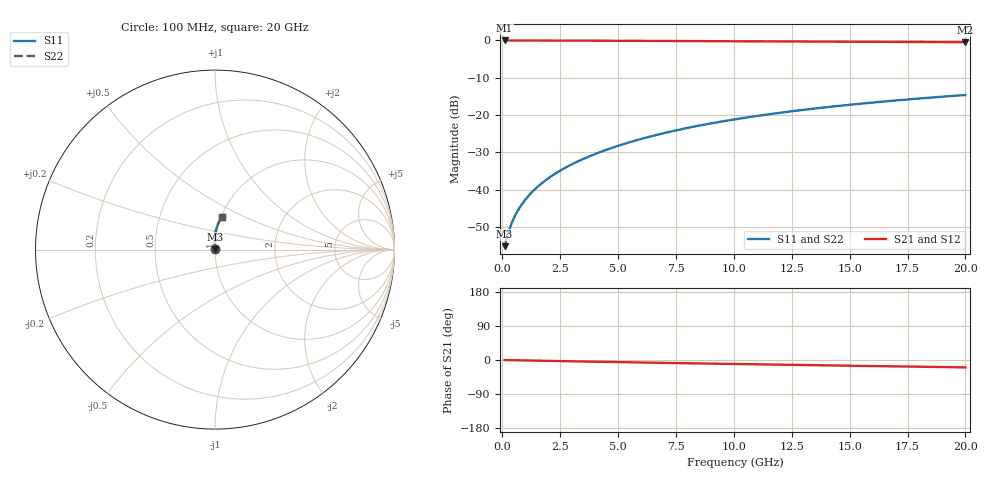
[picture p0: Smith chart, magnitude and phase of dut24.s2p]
! Touchstone file exported from HFSS 2024.1.0
!  File:  C:/UserFiles/LocalFiles/RDL_TSV_Batchsim/temp_RDL_top_24_1778680355.aedt
!  Generated:  09:54:37 PM May 13, 2026
!  Design:  RDL_top
!  Project:  temp_RDL_top_24_1778680355
!  Setup:  Setup1
!  Solution:  Sweep
! Variables:
!  dtsv = 10.80580581um
!  hbump = 3um
!  htsv = 53.6um
!  ldown = 100um
!  lrdl = 266.81um
!  p = 40
!  p1 = 48.59um
!  rhole = 1um
!  t = 450um
!  tdown = 3.915915916um
!  trdl = 2.84um
!  wdown = 15.38538539um
!  wrdl = 27.21um
# GHz S MA R 50.000000
! Terminal data exported
! Port[1] = Box2_T1
! Port[2] = Box2_T2
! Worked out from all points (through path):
!   200 points, 100 MHz to 20 GHz, reference 50 ohm
!   highest |S21| = -0.01 dB at 100 MHz (marker M1); lowest = -0.5 dB at 20 GHz (marker M2)
!   group delay of S21, straight-line fit = 2.67 ps
!   lowest |S11| = -55.2 dB at 100 MHz (marker M3), VSWR 1.00, Z = 50.2 + j0.0819 ohm
!   |S11| at or under -10 dB: start of sweep to end of sweep
!   |S22| runs from -55.2 to -14.6 dB; largest |S21 - S12| = 4e-15
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0.1  0.001738 28.0  0.9985 -0.1  0.9985 -0.1  0.001738 28.0
! Gamma 0 0 0 0
! Port Impedance 50 0 50 0
0.3  0.002877 54.3  0.9983 -0.4  0.9983 -0.4  0.002877 54.3
0.4  0.003505 60.2  0.9981 -0.5  0.9981 -0.5  0.003505 60.2
0.5  0.004133 64.4  0.998 -0.6  0.998 -0.6  0.004133 64.4
0.6  0.004762 67.7  0.9979 -0.7  0.9979 -0.7  0.004762 67.7
0.8  0.006035 72.6  0.9977 -0.9  0.9977 -0.9  0.006035 72.6
1  0.007335 76.1  0.9975 -1.2  0.9975 -1.2  0.007335 76.1
1.2  0.008663 78.8  0.9973 -1.4  0.9973 -1.4  0.008663 78.8
1.7  0.0121 83.4  0.9966 -2.0  0.9966 -2.0  0.0121 83.4
2.2  0.01569 86.4  0.9958 -2.6  0.9958 -2.6  0.01569 86.4
2.8  0.0202 88.7  0.9945 -3.2  0.9945 -3.2  0.0202 88.7
3.5  0.02574 90.6  0.9928 -4.0  0.9928 -4.0  0.02574 90.5
4.2  0.03157 91.7  0.9909 -4.8  0.9909 -4.8  0.03157 91.7
5  0.03856 92.3  0.9885 -5.6  0.9885 -5.6  0.03856 92.3
5.9  0.04679 92.5  0.9857 -6.5  0.9857 -6.5  0.04678 92.5
6.8  0.05531 92.3  0.9829 -7.4  0.9829 -7.4  0.0553 92.3
8.4  0.07096 91.2  0.9779 -9.0  0.9779 -9.0  0.07095 91.2
10.1  0.08797 89.6  0.9727 -10.6  0.9727 -10.6  0.08795 89.6
11.7  0.1041 87.8  0.9681 -12.1  0.9681 -12.1  0.1041 87.8
13.4  0.1211 85.8  0.9633 -13.6  0.9633 -13.6  0.1211 85.8
16.7  0.1537 81.9  0.9544 -16.6  0.9544 -16.6  0.1536 81.9
20  0.1852 78.2  0.9456 -19.5  0.9456 -19.5  0.1852 78.2
